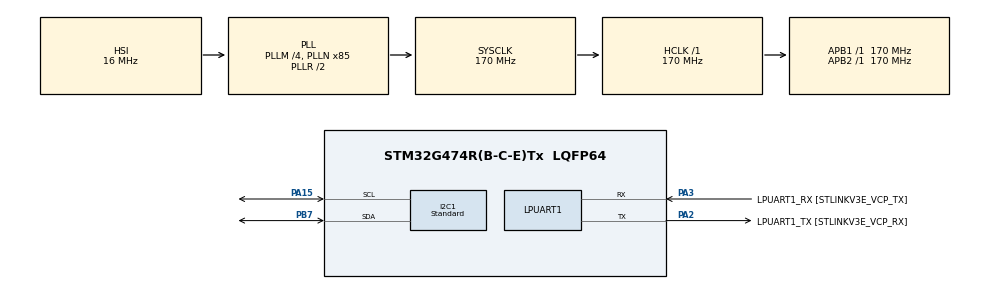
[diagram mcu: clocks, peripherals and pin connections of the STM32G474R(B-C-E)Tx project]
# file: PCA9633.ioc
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I2C1.I2C_Speed_Mode=I2C_Standard
I2C1.Timing=0x30A0A7FB
Mcu.Family=STM32G4
Mcu.Name=STM32G474R(B-C-E)Tx
Mcu.Package=LQFP64
NVIC.PriorityGroup=NVIC_PRIORITYGROUP_4
PA13.GPIO_Label=T_SWDIO
PA13.Mode=Serial_Wire
PA13.Signal=SYS_JTMS-SWDIO
PA14.GPIO_Label=T_SWCLK
PA14.Mode=Serial_Wire
PA14.Signal=SYS_JTCK-SWCLK
PA15.Mode=I2C
PA15.Signal=I2C1_SCL
PA2.GPIO_Label=LPUART1_TX [STLINKV3E_VCP_RX]
PA2.Mode=Asynchronous
PA2.Signal=LPUART1_TX
PA3.GPIO_Label=LPUART1_RX [STLINKV3E_VCP_TX]
PA3.Mode=Asynchronous
PA3.Signal=LPUART1_RX
PB3.GPIO_Label=T_SWO
PB3.Signal=SYS_JTDO-SWO
PB7.Mode=I2C
PB7.Signal=I2C1_SDA
PC14-OSC32_IN.Mode=LSE-External-Oscillator
PC14-OSC32_IN.Signal=RCC_OSC32_IN
PC15-OSC32_OUT.Mode=LSE-External-Oscillator
PC15-OSC32_OUT.Signal=RCC_OSC32_OUT
PF0-OSC_IN.Mode=HSE-External-Oscillator
PF0-OSC_IN.Signal=RCC_OSC_IN
PF1-OSC_OUT.Mode=HSE-External-Oscillator
PF1-OSC_OUT.Signal=RCC_OSC_OUT
ProjectManager.HeapSize=0x200
ProjectManager.StackSize=0x400
ProjectManager.TargetToolchain=STM32CubeIDE
RCC.ADC12Freq_Value=170000000
RCC.ADC345Freq_Value=170000000
RCC.AHBFreq_Value=170000000
RCC.APB1Freq_Value=170000000
RCC.APB1TimFreq_Value=170000000
RCC.APB2Freq_Value=170000000
RCC.APB2TimFreq_Value=170000000
RCC.CortexFreq_Value=170000000
RCC.EXTERNAL_CLOCK_VALUE=12288000
RCC.HCLKFreq_Value=170000000
RCC.HSE_VALUE=24000000
RCC.HSI48_VALUE=48000000
RCC.HSI_VALUE=16000000
RCC.PLLM=RCC_PLLM_DIV4
RCC.PLLN=85
RCC.RTCClockSelection=RCC_RTCCLKSOURCE_LSE
RCC.SYSCLKFreq_VALUE=170000000
RCC.SYSCLKSource=RCC_SYSCLKSOURCE_PLLCLK
RCC.USBFreq_Value=170000000
RCC.VCOOutputFreq_Value=340000000
VP_SYS_VS_DBSignals.Mode=DisableDeadBatterySignals
board=NUCLEO-G474RE

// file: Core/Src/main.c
/* USER CODE BEGIN Header */
/**
  ******************************************************************************
  * @file           : main.c
  * @brief          : Main program body
  ******************************************************************************
  * @attention
  *
  * Copyright (c) 2023 STMicroelectronics.
  * All rights reserved.
  *
  * This software is licensed under terms that can be found in the LICENSE file
  * in the root directory of this software component.
  * If no LICENSE file comes with this software, it is provided AS-IS.
  *
  ******************************************************************************
  */
/* USER CODE END Header */
#include "main.h"
#include "i2c.h"
#include "usart.h"
#include "gpio.h"

/* USER CODE BEGIN PD */
#define I2C_TIMEOUT 100

#define RED_REGISTER 0x02
#define GREEN_REGISTER 0x03
#define BLUE_REGISTER 0x04
#define WHITE_REGISTER 0x05

#define PCA9633_ADDRESS 0x20  //REQUIRES PROPER CONNECTION

#define WHITE_VALUE 128   // VALUE BETWEEN (0-255)
#define LIGHTNESS 50 //VALUE BETWEEN (0-100)

/* USER CODE END PD */

void SystemClock_Config(void);
/* USER CODE BEGIN PFP */

void PCA9633_WriteRegister(I2C_HandleTypeDef *hi2c, uint16_t DevAddress, uint8_t reg, uint8_t value);
void PCA9633_Init(I2C_HandleTypeDef *hi2c, uint16_t DevAddress);
void SetLedColor(I2C_HandleTypeDef *hi2c, uint16_t DevAddress, uint8_t red, uint8_t green, uint8_t blue, uint8_t white);

/* USER CODE END PFP */

int main(void)
{
  /* USER CODE BEGIN 1 */
    uint8_t red=255;
	uint8_t green, blue,white;
    float lightness;
    uint8_t i;

    white = WHITE_VALUE;
    lightness = (((float)LIGHTNESS)/100.0);

  /* USER CODE END 1 */

  /* MCU Configuration--------------------------------------------------------*/

  /* Reset of all peripherals, Initializes the Flash interface and the Systick. */
  HAL_Init();

  /* Configure the system clock */
  SystemClock_Config();

  /* Initialize all configured peripherals */
  MX_GPIO_Init();
  MX_LPUART1_UART_Init();
  MX_I2C1_Init();
  /* USER CODE BEGIN 2 */
  PCA9633_Init(&hi2c1,PCA9633_ADDRESS);

  /* USER CODE END 2 */

  /* Infinite loop */
  /* USER CODE BEGIN WHILE */
  while (1)
  {

	  for (i = 0; i < 256; i++)
	  {
		 lightness = (float)i / 255.0;

		 // Calculate RGB values for rainbow color based on current position
		 if (i < 85) {
			 red = 255 - i * 3;
			 green = i * 3;
			 blue = 0;
		 } else if (i < 170) {
			 red = 0;
			 green = 255 - (i - 85) * 3;
			 blue = (i - 85) * 3;
		 } else {
			 red = (i - 170) * 3;
			 green = 0;
			 blue = 255 - (i - 170) * 3;
		 }

		 // Adjust the colors based on LIGHTNESS
		 red = (uint8_t)((float)red * lightness);
		 green = (uint8_t)((float)green * lightness);
		 blue = (uint8_t)((float)blue * lightness);
		 blue = (uint8_t)((float)white * lightness);

		 // Set the LED color
		 SetLedColor(&hi2c1,PCA9633_ADDRESS,red, green, blue,white);

		 HAL_Delay(50);  // blocking code...

	  }
    /* USER CODE END WHILE */

  }
}

void SystemClock_Config(void)
{
  RCC_OscInitTypeDef RCC_OscInitStruct = {0};
  RCC_ClkInitTypeDef RCC_ClkInitStruct = {0};

  /** Configure the main internal regulator output voltage
  */
  HAL_PWREx_ControlVoltageScaling(PWR_REGULATOR_VOLTAGE_SCALE1_BOOST);

  /** Initializes the RCC Oscillators according to the specified parameters
  * in the RCC_OscInitTypeDef structure.
  */
  RCC_OscInitStruct.OscillatorType = RCC_OSCILLATORTYPE_HSI;
  RCC_OscInitStruct.HSIState = RCC_HSI_ON;
  RCC_OscInitStruct.HSICalibrationValue = RCC_HSICALIBRATION_DEFAULT;
  RCC_OscInitStruct.PLL.PLLState = RCC_PLL_ON;
  RCC_OscInitStruct.PLL.PLLSource = RCC_PLLSOURCE_HSI;
  RCC_OscInitStruct.PLL.PLLM = RCC_PLLM_DIV4;
  RCC_OscInitStruct.PLL.PLLN = 85;
  RCC_OscInitStruct.PLL.PLLP = RCC_PLLP_DIV2;
  RCC_OscInitStruct.PLL.PLLQ = RCC_PLLQ_DIV2;
  RCC_OscInitStruct.PLL.PLLR = RCC_PLLR_DIV2;
  if (HAL_RCC_OscConfig(&RCC_OscInitStruct) != HAL_OK)
  {
    Error_Handler();
  }

  /** Initializes the CPU, AHB and APB buses clocks
  */
  RCC_ClkInitStruct.ClockType = RCC_CLOCKTYPE_HCLK|RCC_CLOCKTYPE_SYSCLK
                              |RCC_CLOCKTYPE_PCLK1|RCC_CLOCKTYPE_PCLK2;
  RCC_ClkInitStruct.SYSCLKSource = RCC_SYSCLKSOURCE_PLLCLK;
  RCC_ClkInitStruct.AHBCLKDivider = RCC_SYSCLK_DIV1;
  RCC_ClkInitStruct.APB1CLKDivider = RCC_HCLK_DIV1;
  RCC_ClkInitStruct.APB2CLKDivider = RCC_HCLK_DIV1;

  if (HAL_RCC_ClockConfig(&RCC_ClkInitStruct, FLASH_LATENCY_4) != HAL_OK)
  {
    Error_Handler();
  }
}

/* USER CODE BEGIN 4 */

void PCA9633_WriteRegister(I2C_HandleTypeDef *hi2c, uint16_t DevAddress, uint8_t reg, uint8_t value)
{
    uint8_t buffer[2];
    buffer[0] = reg;
    buffer[1] = value;
    HAL_I2C_Master_Transmit(hi2c, DevAddress,buffer,2,I2C_TIMEOUT);
}

void PCA9633_Init(I2C_HandleTypeDef *hi2c, uint16_t DevAddress)
{
    PCA9633_WriteRegister(hi2c,DevAddress,0x00, 0x00);  	// Set MODE1 register for normal operation

    PCA9633_WriteRegister(hi2c,DevAddress,0x01, 0x00);		// Set MODE2 register for full output logic (no inverted outputs)
}

void SetLedColor(I2C_HandleTypeDef *hi2c, uint16_t DevAddress, uint8_t red, uint8_t green, uint8_t blue, uint8_t white)
{
	PCA9633_WriteRegister(hi2c,DevAddress,RED_REGISTER,red);
	PCA9633_WriteRegister(hi2c,DevAddress,GREEN_REGISTER,green);
	PCA9633_WriteRegister(hi2c,DevAddress,BLUE_REGISTER,blue);
	PCA9633_WriteRegister(hi2c,DevAddress,WHITE_REGISTER,white);
}

/* USER CODE END 4 */

void Error_Handler(void)
{
  __disable_irq();
  while (1)
  {
  }
}
